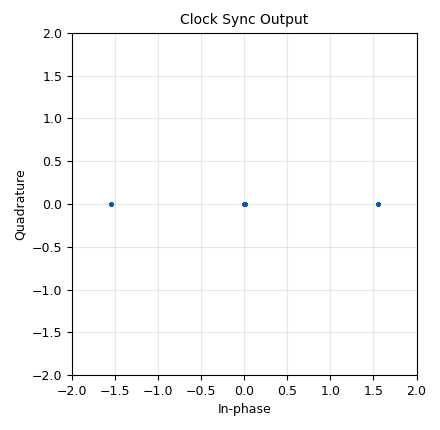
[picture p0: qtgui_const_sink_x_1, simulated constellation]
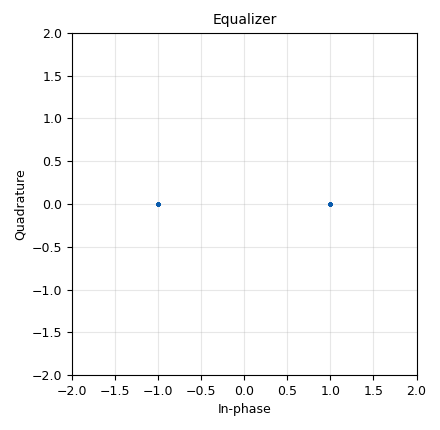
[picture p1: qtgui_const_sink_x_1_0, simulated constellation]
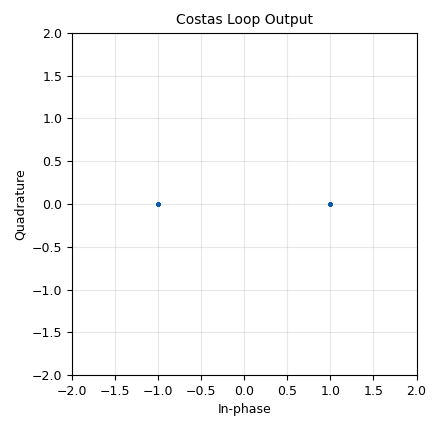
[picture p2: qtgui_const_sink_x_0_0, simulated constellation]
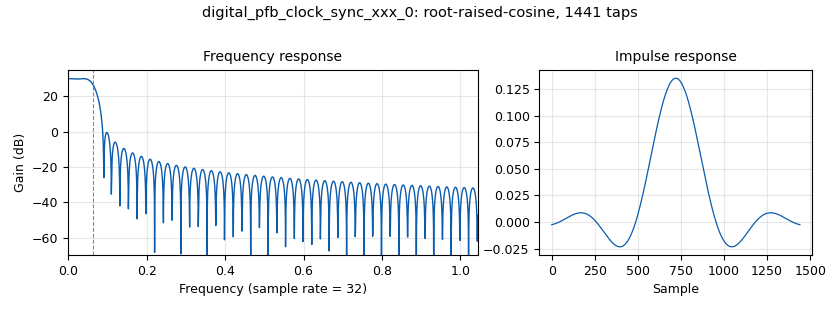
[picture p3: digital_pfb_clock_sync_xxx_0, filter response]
<?xml version='1.0' encoding='utf-8'?>
<?grc format='1' created='3.7.5'?>
<flow_graph>
<block>
<key>options</key>
<param><key>id</key><value>mpsk_stage3</value></param>
<param><key>generate_options</key><value>qt_gui</value></param>
<param><key>category</key><value>Custom</value></param>
</block>
<block>
<key>variable</key>
<param><key>id</key><value>access_code</value></param>
<param><key>value</key><value>[31, 53]</value></param>
</block>
<block>
<key>variable</key>
<param><key>id</key><value>decim</value></param>
<param><key>value</key><value>1</value></param>
</block>
<block>
<key>variable</key>
<param><key>id</key><value>taps</value></param>
<param><key>_enabled</key><value>False</value></param>
<param><key>value</key><value>[1.0, 0.25-0.25j, 0.50 + 0.10j, -0.3 + 0.2j]</value></param>
</block>
<block>
<key>variable</key>
<param><key>id</key><value>taps</value></param>
<param><key>value</key><value>[1.0 + 0.0j, ]</value></param>
</block>
<block>
<key>variable</key>
<param><key>id</key><value>arity</value></param>
<param><key>value</key><value>2</value></param>
</block>
<block>
<key>variable</key>
<param><key>id</key><value>excess_bw</value></param>
<param><key>value</key><value>0.35</value></param>
</block>
<block>
<key>variable</key>
<param><key>id</key><value>payload</value></param>
<param><key>value</key><value>range(256)</value></param>
</block>
<block>
<key>variable</key>
<param><key>id</key><value>access_code_str</value></param>
<param><key>value</key><value>"1111100110101"</value></param>
</block>
<block>
<key>variable</key>
<param><key>id</key><value>freq</value></param>
<param><key>value</key><value>2.3e9</value></param>
</block>
<block>
<key>variable</key>
<param><key>id</key><value>nfilts</value></param>
<param><key>value</key><value>32</value></param>
</block>
<block>
<key>variable</key>
<param><key>id</key><value>samp_rate</value></param>
<param><key>value</key><value>250e3</value></param>
</block>
<block>
<key>variable</key>
<param><key>id</key><value>payload_str</value></param>
<param><key>value</key><value>''.join(map(lambda x: "{0:08b}".format(x), payload))</value></param>
</block>
<block>
<key>variable</key>
<param><key>id</key><value>sps</value></param>
<param><key>value</key><value>8</value></param>
</block>
<block>
<key>variable</key>
<param><key>id</key><value>rrc_taps</value></param>
<param><key>value</key><value>firdes.root_raised_cosine(nfilts, nfilts, 1.0/float(sps), 0.35, 45*nfilts)</value></param>
</block>
<block>
<key>digital_cma_equalizer_cc</key>
<param><key>id</key><value>digital_cma_equalizer_cc_0</value></param>
<param><key>num_taps</key><value>16</value></param>
<param><key>modulus</key><value>1</value></param>
<param><key>mu</key><value>0.15/100.</value></param>
<param><key>sps</key><value>1</value></param>
</block>
<block>
<key>qtgui_const_sink_x</key>
<param><key>id</key><value>qtgui_const_sink_x_1</value></param>
<param><key>type</key><value>complex</value></param>
<param><key>name</key><value>"Clock Sync Output"</value></param>
<param><key>size</key><value>1024</value></param>
</block>
<block>
<key>blocks_keep_one_in_n</key>
<param><key>id</key><value>blocks_keep_one_in_n_0</value></param>
<param><key>type</key><value>byte</value></param>
</block>
<block>
<key>blocks_unpack_k_bits_bb</key>
<param><key>id</key><value>blocks_unpack_k_bits_bb_0</value></param>
<param><key>k</key><value>8</value></param>
</block>
<block>
<key>blocks_delay</key>
<param><key>id</key><value>blocks_delay_0</value></param>
<param><key>type</key><value>byte</value></param>
<param><key>delay</key><value>int(delay)</value></param>
</block>
<block>
<key>variable_qtgui_range</key>
<param><key>id</key><value>delay</value></param>
<param><key>label</key><value>delay</value></param>
<param><key>value</key><value>32</value></param>
<param><key>start</key><value>0</value></param>
<param><key>stop</key><value>100</value></param>
<param><key>step</key><value>1</value></param>
<param><key>orient</key><value>Qt.Horizontal</value></param>
</block>
<block>
<key>blocks_char_to_float</key>
<param><key>id</key><value>blocks_char_to_float_0_0</value></param>
<param><key>scale</key><value>1</value></param>
</block>
<block>
<key>blocks_sub_xx</key>
<param><key>id</key><value>blocks_sub_xx_0</value></param>
<param><key>type</key><value>float</value></param>
</block>
<block>
<key>digital_correlate_access_code_bb</key>
<param><key>id</key><value>digital_correlate_access_code_bb_0</value></param>
<param><key>access_code</key><value>access_code_str</value></param>
<param><key>threshold</key><value>1</value></param>
</block>
<block>
<key>blocks_char_to_float</key>
<param><key>id</key><value>blocks_char_to_float_0</value></param>
<param><key>scale</key><value>1</value></param>
</block>
<block>
<key>qtgui_time_sink_x</key>
<param><key>id</key><value>qtgui_time_sink_x_0</value></param>
<param><key>type</key><value>float</value></param>
<param><key>size</key><value>1024</value></param>
<param><key>srate</key><value>samp_rate</value></param>
<param><key>label1</key><value></value></param>
<param><key>color1</key><value>"blue"</value></param>
</block>
<block>
<key>digital_diff_decoder_bb</key>
<param><key>id</key><value>digital_diff_decoder_bb_0</value></param>
<param><key>modulus</key><value>2</value></param>
</block>
<block>
<key>digital_constellation_decoder_cb</key>
<param><key>id</key><value>digital_constellation_decoder_cb_0</value></param>
<param><key>constellation</key><value>qpsk_const</value></param>
</block>
<block>
<key>qtgui_const_sink_x</key>
<param><key>id</key><value>qtgui_const_sink_x_1_0</value></param>
<param><key>type</key><value>complex</value></param>
<param><key>name</key><value>"Equalizer"</value></param>
<param><key>size</key><value>1024</value></param>
</block>
<block>
<key>digital_lms_dd_equalizer_cc</key>
<param><key>id</key><value>digital_lms_dd_equalizer_cc_0</value></param>
<param><key>_enabled</key><value>False</value></param>
<param><key>mu</key><value>1./15.</value></param>
<param><key>num_taps</key><value>15</value></param>
<param><key>sps</key><value>1</value></param>
<param><key>cnst</key><value>qpsk_const</value></param>
</block>
<block>
<key>variable_qtgui_range</key>
<param><key>id</key><value>gain</value></param>
<param><key>label</key><value>RF gain</value></param>
<param><key>value</key><value>50</value></param>
<param><key>start</key><value>0</value></param>
<param><key>stop</key><value>90</value></param>
<param><key>step</key><value>1</value></param>
<param><key>orient</key><value>Qt.Horizontal</value></param>
</block>
<block>
<key>digital_costas_loop_cc</key>
<param><key>id</key><value>digital_costas_loop_cc_0</value></param>
<param><key>w</key><value>.015</value></param>
<param><key>order</key><value>2</value></param>
</block>
<block>
<key>qtgui_const_sink_x</key>
<param><key>id</key><value>qtgui_const_sink_x_0</value></param>
<param><key>_enabled</key><value>False</value></param>
<param><key>type</key><value>complex</value></param>
<param><key>name</key><value>"AGC Output"</value></param>
<param><key>size</key><value>2048</value></param>
<param><key>gui_hint</key><value>0,0,1,1</value></param>
</block>
<block>
<key>qtgui_waterfall_sink_x</key>
<param><key>id</key><value>qtgui_waterfall_sink_x_0</value></param>
<param><key>_enabled</key><value>False</value></param>
<param><key>type</key><value>complex</value></param>
<param><key>name</key><value>"AGC Output"</value></param>
<param><key>fftsize</key><value>1024</value></param>
<param><key>wintype</key><value>firdes.WIN_BLACKMAN_hARRIS</value></param>
<param><key>fc</key><value>freq</value></param>
<param><key>bw</key><value>samp_rate</value></param>
<param><key>showports</key><value>True</value></param>
</block>
<block>
<key>analog_agc_xx</key>
<param><key>id</key><value>analog_agc_xx_0</value></param>
<param><key>_enabled</key><value>False</value></param>
<param><key>type</key><value>complex</value></param>
<param><key>rate</key><value>1e-4</value></param>
<param><key>reference</key><value>1.0</value></param>
<param><key>gain</key><value>1.0</value></param>
<param><key>max_gain</key><value>65536</value></param>
</block>
<block>
<key>blks2_tcp_source</key>
<param><key>id</key><value>blks2_tcp_source_0</value></param>
<param><key>_enabled</key><value>False</value></param>
<param><key>type</key><value>complex</value></param>
<param><key>addr</key><value>127.0.0.1</value></param>
<param><key>port</key><value>1234</value></param>
<param><key>server</key><value>True</value></param>
<param><key>vlen</key><value>1</value></param>
</block>
<block>
<key>uhd_usrp_source</key>
<param><key>id</key><value>uhd_usrp_source_0</value></param>
<param><key>_enabled</key><value>False</value></param>
<param><key>type</key><value>fc32</value></param>
<param><key>dev_args</key><value>""</value></param>
<param><key>sync</key><value></value></param>
<param><key>clock_rate</key><value>0.0</value></param>
<param><key>samp_rate</key><value>samp_rate*decim</value></param>
<param><key>center_freq0</key><value>freq</value></param>
<param><key>gain0</key><value>gain</value></param>
<param><key>ant0</key><value>"RX2"</value></param>
</block>
<block>
<key>import</key>
<param><key>id</key><value>import_1</value></param>
<param><key>import</key><value>import pmt</value></param>
</block>
<block>
<key>qtgui_const_sink_x</key>
<param><key>id</key><value>qtgui_const_sink_x_0_0</value></param>
<param><key>type</key><value>complex</value></param>
<param><key>name</key><value>Costas Loop Output</value></param>
<param><key>size</key><value>2048</value></param>
<param><key>gui_hint</key><value>0,1,1,1</value></param>
</block>
<block>
<key>west_ber_pdu</key>
<param><key>id</key><value>west_ber_pdu_0</value></param>
<param><key>bitstream</key><value>payload_str</value></param>
</block>
<block>
<key>west_stream_trigged_pdu</key>
<param><key>id</key><value>west_stream_trigged_pdu_0</value></param>
<param><key>tag_name</key><value>start_payload</value></param>
<param><key>length</key><value>2048</value></param>
</block>
<block>
<key>variable_constellation_rect</key>
<param><key>id</key><value>qpsk_const</value></param>
<param><key>sym_map</key><value>[0, 1]</value></param>
<param><key>const_points</key><value>[-1, +1]</value></param>
<param><key>rot_sym</key><value>1</value></param>
<param><key>real_sect</key><value>2</value></param>
<param><key>imag_sect</key><value>1</value></param>
<param><key>w_real_sect</key><value>1</value></param>
<param><key>w_imag_sect</key><value>1</value></param>
<param><key>softbits_lut</key><value>None</value></param>
</block>
<block>
<key>variable_qtgui_range</key>
<param><key>id</key><value>timing_loop_bw</value></param>
<param><key>label</key><value>Time: BW</value></param>
<param><key>value</key><value>6.28/100.0</value></param>
<param><key>start</key><value>0.0</value></param>
<param><key>stop</key><value>0.2</value></param>
<param><key>step</key><value>0.005</value></param>
<param><key>widget</key><value>slider</value></param>
<param><key>orient</key><value>Qt.Horizontal</value></param>
<param><key>gui_hint</key><value>3,1,1,1</value></param>
</block>
<block>
<key>import</key>
<param><key>id</key><value>import_0</value></param>
<param><key>import</key><value>import math</value></param>
</block>
<block>
<key>pfb_arb_resampler_xxx</key>
<param><key>id</key><value>pfb_arb_resampler_xxx_0</value></param>
<param><key>_enabled</key><value>False</value></param>
<param><key>type</key><value>ccf</value></param>
<param><key>rrate</key><value>1</value></param>
<param><key>taps</key><value>rrc_taps[:-1]</value></param>
<param><key>nfilts</key><value>32</value></param>
<param><key>atten</key><value>100</value></param>
</block>
<block>
<key>digital_constellation_modulator</key>
<param><key>id</key><value>digital_constellation_modulator_0</value></param>
<param><key>constellation</key><value>qpsk_const</value></param>
<param><key>differential</key><value>True</value></param>
<param><key>samples_per_symbol</key><value>sps</value></param>
<param><key>excess_bw</key><value>excess_bw</value></param>
<param><key>affinity</key><value>2</value></param>
</block>
<block>
<key>blocks_throttle</key>
<param><key>id</key><value>blocks_throttle_0</value></param>
<param><key>type</key><value>complex</value></param>
<param><key>samples_per_second</key><value>samp_rate</value></param>
</block>
<block>
<key>digital_clock_recovery_mm_xx</key>
<param><key>id</key><value>digital_clock_recovery_mm_xx_0</value></param>
<param><key>_enabled</key><value>False</value></param>
<param><key>type</key><value>complex</value></param>
<param><key>omega</key><value>sps*(1+0.0)</value></param>
<param><key>gain_omega</key><value>0.25*0.175*0.175</value></param>
<param><key>mu</key><value>0.5</value></param>
<param><key>gain_mu</key><value>0.175</value></param>
<param><key>omega_relative_limit</key><value>0.005</value></param>
</block>
<block>
<key>digital_pfb_clock_sync_xxx</key>
<param><key>id</key><value>digital_pfb_clock_sync_xxx_0</value></param>
<param><key>type</key><value>ccf</value></param>
<param><key>sps</key><value>sps*1.00</value></param>
<param><key>loop_bw</key><value>timing_loop_bw</value></param>
<param><key>taps</key><value>rrc_taps</value></param>
<param><key>filter_size</key><value>nfilts</value></param>
<param><key>init_phase</key><value>nfilts/2</value></param>
<param><key>max_dev</key><value>1.5</value></param>
<param><key>osps</key><value>1</value></param>
<param><key>affinity</key><value>1</value></param>
</block>
<block>
<key>blocks_vector_source_x</key>
<param><key>id</key><value>blocks_vector_source_x_0_0</value></param>
<param><key>type</key><value>byte</value></param>
<param><key>vector</key><value>[170,170]*50000 + access_code + payload*100000</value></param>
<param><key>repeat</key><value>False</value></param>
</block>
<block>
<key>analog_agc2_xx</key>
<param><key>id</key><value>analog_agc2_xx_0</value></param>
<param><key>type</key><value>complex</value></param>
<param><key>attack_rate</key><value>1e-2</value></param>
<param><key>decay_rate</key><value>1e-2</value></param>
<param><key>reference</key><value>1.0</value></param>
<param><key>gain</key><value>1</value></param>
<param><key>max_gain</key><value>65536</value></param>
</block>
<block>
<key>blocks_multiply_const_vxx</key>
<param><key>id</key><value>blocks_multiply_const_vxx_0</value></param>
<param><key>type</key><value>complex</value></param>
<param><key>const</key><value>.25 / 2</value></param>
</block>
<connection><source_block_id>analog_agc2_xx_0</source_block_id><sink_block_id>pfb_arb_resampler_xxx_0</sink_block_id><source_key>0</source_key><sink_key>0</sink_key></connection>
<connection><source_block_id>pfb_arb_resampler_xxx_0</source_block_id><sink_block_id>digital_clock_recovery_mm_xx_0</sink_block_id><source_key>0</source_key><sink_key>0</sink_key></connection>
<connection><source_block_id>blocks_multiply_const_vxx_0</source_block_id><sink_block_id>analog_agc2_xx_0</sink_block_id><source_key>0</source_key><sink_key>0</sink_key></connection>
<connection><source_block_id>digital_clock_recovery_mm_xx_0</source_block_id><sink_block_id>digital_cma_equalizer_cc_0</sink_block_id><source_key>0</source_key><sink_key>0</sink_key></connection>
<connection><source_block_id>digital_clock_recovery_mm_xx_0</source_block_id><sink_block_id>qtgui_const_sink_x_1</sink_block_id><source_key>0</source_key><sink_key>0</sink_key></connection>
<connection><source_block_id>digital_pfb_clock_sync_xxx_0</source_block_id><sink_block_id>digital_lms_dd_equalizer_cc_0</sink_block_id><source_key>0</source_key><sink_key>0</sink_key></connection>
<connection><source_block_id>blocks_vector_source_x_0_0</source_block_id><sink_block_id>blocks_unpack_k_bits_bb_0</sink_block_id><source_key>0</source_key><sink_key>0</sink_key></connection>
<connection><source_block_id>blocks_unpack_k_bits_bb_0</source_block_id><sink_block_id>blocks_delay_0</sink_block_id><source_key>0</source_key><sink_key>0</sink_key></connection>
<connection><source_block_id>blocks_throttle_0</source_block_id><sink_block_id>blocks_multiply_const_vxx_0</sink_block_id><source_key>0</source_key><sink_key>0</sink_key></connection>
<connection><source_block_id>blocks_delay_0</source_block_id><sink_block_id>blocks_char_to_float_0_0</sink_block_id><source_key>0</source_key><sink_key>0</sink_key></connection>
<connection><source_block_id>blocks_vector_source_x_0_0</source_block_id><sink_block_id>digital_constellation_modulator_0</sink_block_id><source_key>0</source_key><sink_key>0</sink_key></connection>
<connection><source_block_id>digital_correlate_access_code_bb_0</source_block_id><sink_block_id>blocks_char_to_float_0</sink_block_id><source_key>0</source_key><sink_key>0</sink_key></connection>
<connection><source_block_id>blocks_sub_xx_0</source_block_id><sink_block_id>qtgui_time_sink_x_0</sink_block_id><source_key>0</source_key><sink_key>0</sink_key></connection>
<connection><source_block_id>blocks_char_to_float_0</source_block_id><sink_block_id>blocks_sub_xx_0</sink_block_id><source_key>0</source_key><sink_key>0</sink_key></connection>
<connection><source_block_id>blocks_char_to_float_0_0</source_block_id><sink_block_id>blocks_sub_xx_0</sink_block_id><source_key>0</source_key><sink_key>1</sink_key></connection>
<connection><source_block_id>blocks_keep_one_in_n_0</source_block_id><sink_block_id>digital_diff_decoder_bb_0</sink_block_id><source_key>0</source_key><sink_key>0</sink_key></connection>
<connection><source_block_id>digital_constellation_decoder_cb_0</source_block_id><sink_block_id>blocks_keep_one_in_n_0</sink_block_id><source_key>0</source_key><sink_key>0</sink_key></connection>
<connection><source_block_id>digital_cma_equalizer_cc_0</source_block_id><sink_block_id>qtgui_const_sink_x_1_0</sink_block_id><source_key>0</source_key><sink_key>0</sink_key></connection>
<connection><source_block_id>blks2_tcp_source_0</source_block_id><sink_block_id>analog_agc_xx_0</sink_block_id><source_key>0</source_key><sink_key>0</sink_key></connection>
<connection><source_block_id>digital_costas_loop_cc_0</source_block_id><sink_block_id>qtgui_const_sink_x_0_0</sink_block_id><source_key>0</source_key><sink_key>0</sink_key></connection>
<connection><source_block_id>west_stream_trigged_pdu_0</source_block_id><sink_block_id>west_ber_pdu_0</sink_block_id><source_key>pdus</source_key><sink_key>pdus</sink_key></connection>
<connection><source_block_id>digital_costas_loop_cc_0</source_block_id><sink_block_id>digital_constellation_decoder_cb_0</sink_block_id><source_key>0</source_key><sink_key>0</sink_key></connection>
<connection><source_block_id>digital_correlate_access_code_bb_0</source_block_id><sink_block_id>west_stream_trigged_pdu_0</sink_block_id><source_key>0</source_key><sink_key>0</sink_key></connection>
<connection><source_block_id>digital_diff_decoder_bb_0</source_block_id><sink_block_id>digital_correlate_access_code_bb_0</sink_block_id><source_key>0</source_key><sink_key>0</sink_key></connection>
<connection><source_block_id>digital_pfb_clock_sync_xxx_0</source_block_id><sink_block_id>qtgui_const_sink_x_1</sink_block_id><source_key>0</source_key><sink_key>0</sink_key></connection>
<connection><source_block_id>analog_agc_xx_0</source_block_id><sink_block_id>qtgui_const_sink_x_0</sink_block_id><source_key>0</source_key><sink_key>0</sink_key></connection>
<connection><source_block_id>analog_agc_xx_0</source_block_id><sink_block_id>qtgui_waterfall_sink_x_0</sink_block_id><source_key>0</source_key><sink_key>0</sink_key></connection>
<connection><source_block_id>analog_agc_xx_0</source_block_id><sink_block_id>digital_pfb_clock_sync_xxx_0</sink_block_id><source_key>0</source_key><sink_key>0</sink_key></connection>
<connection><source_block_id>uhd_usrp_source_0</source_block_id><sink_block_id>analog_agc_xx_0</sink_block_id><source_key>0</source_key><sink_key>0</sink_key></connection>
<connection><source_block_id>digital_pfb_clock_sync_xxx_0</source_block_id><sink_block_id>digital_cma_equalizer_cc_0</sink_block_id><source_key>0</source_key><sink_key>0</sink_key></connection>
<connection><source_block_id>digital_lms_dd_equalizer_cc_0</source_block_id><sink_block_id>digital_costas_loop_cc_0</sink_block_id><source_key>0</source_key><sink_key>0</sink_key></connection>
<connection><source_block_id>digital_cma_equalizer_cc_0</source_block_id><sink_block_id>digital_costas_loop_cc_0</sink_block_id><source_key>0</source_key><sink_key>0</sink_key></connection>
<connection><source_block_id>digital_constellation_modulator_0</source_block_id><sink_block_id>blocks_throttle_0</sink_block_id><source_key>0</source_key><sink_key>0</sink_key></connection>
<connection><source_block_id>analog_agc2_xx_0</source_block_id><sink_block_id>digital_clock_recovery_mm_xx_0</sink_block_id><source_key>0</source_key><sink_key>0</sink_key></connection>
<connection><source_block_id>analog_agc2_xx_0</source_block_id><sink_block_id>digital_pfb_clock_sync_xxx_0</sink_block_id><source_key>0</source_key><sink_key>0</sink_key></connection>
</flow_graph>
